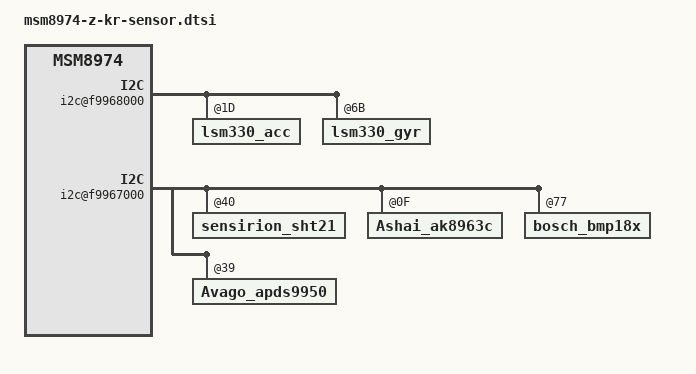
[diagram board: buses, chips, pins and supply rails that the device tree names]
/* Copyright (c) 2012, Code Aurora Forum. All rights reserved.
 *
 * This program is free software; you can redistribute it and/or modify
 * it under the terms of the GNU General Public License version 2 and
 * only version 2 as published by the Free Software Foundation.
 *
 * This program is distributed in the hope that it will be useful,
 * but WITHOUT ANY WARRANTY; without even the implied warranty of
 * MERCHANTABILITY or FITNESS FOR A PARTICULAR PURPOSE.  See the
 * GNU General Public License for more details.
 */

&soc {

	/* I2C device */
	i2c@f9968000 {
		/* STMicroelectronics */
		lsm330_acc@1D {
			status = "ok";
		};

		lsm330_gyr@6B {
			status = "ok";
		};
	};

	i2c@f9967000 {
		sensirion_sht21@40 {
			/* Sensor common */
			status = "ok";
		};

		Ashai_ak8963c@0F {
			/* Sensor common */
			status = "ok";
		};

		bosch_bmp18x@77 {
			status = "ok";
		};

		Avago_apds9950@39 {
			/* Sensor common */
			status = "ok";
		};
	};

};
